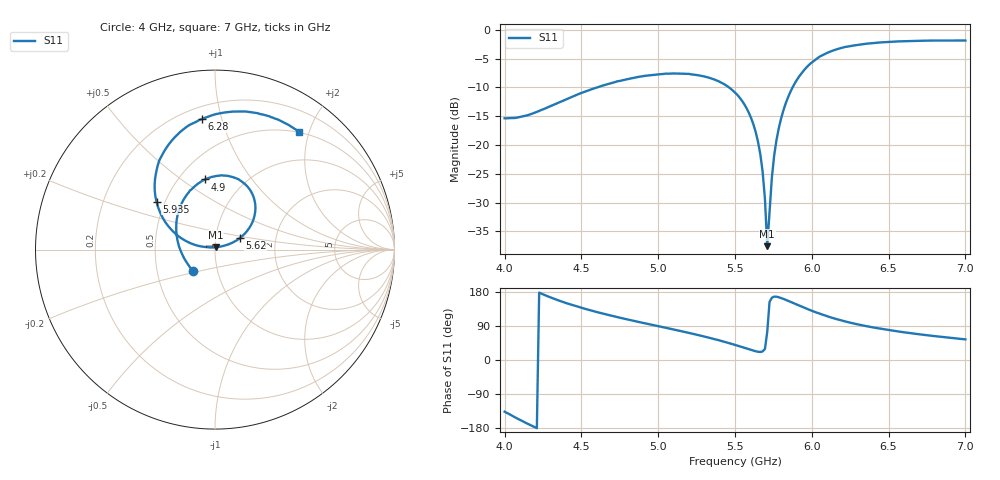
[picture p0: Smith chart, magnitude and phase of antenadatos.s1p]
! S-parameter export from POSTFEKO
! Filename: Antena_Circular3.0[2]
! Creation date: 2025-11-23 20:23:50
# Hz S DB R  5.0000000E+01
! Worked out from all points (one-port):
!   201 points, 4 GHz to 7 GHz, reference 50 ohm
!   lowest |S11| = -37.6 dB at 5.71 GHz (marker M1), VSWR 1.03, Z = 50.3 + j1.28 ohm
!   |S11| at or under -10 dB: start of sweep to 4.604 GHz; 5.46 GHz to 5.875 GHz (415 MHz wide, 7.32 % of centre)
!   S11 on the Smith chart (normalised r, x): 4 GHz: 0.76, -0.18; 4.9 GHz: 0.67, +0.62; 5.62 GHz: 1.30, +0.17; 5.935 GHz: 0.45, +0.29; 6.28 GHz: 0.28, +0.87; 7 GHz: 0.49, +1.84
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4e9  -15.37 -136.4
4.15e9  -14.84 -168.3
4.375e9  -12.38 153.8
4.555e9  -10.45 131.5
4.75e9  -8.89 111.6
4.9e9  -8.08 98.1
5.125e9  -7.61 78.3
5.335e9  -8.37 58.4
5.5e9  -10.90 39.9
5.575e9  -13.61 30.3
5.62e9  -16.45 24.6
5.65e9  -19.48 21.7
5.68e9  -24.67 22.7
5.695e9  -29.42 29.2
5.71e9  -37.57 74.4
5.74e9  -25.68 164.2
5.755e9  -21.83 167.3
5.77e9  -19.17 167.0
5.815e9  -14.01 161.3
5.875e9  -10.00 151.1
5.935e9  -7.51 140.7
6.01e9  -5.49 128.5
6.1e9  -4.02 115.4
6.25e9  -2.86 98.5
6.28e9  -2.71 95.6
6.445e9  -2.21 82.7
6.625e9  -1.98 71.8
7e9  -1.88 54.5
